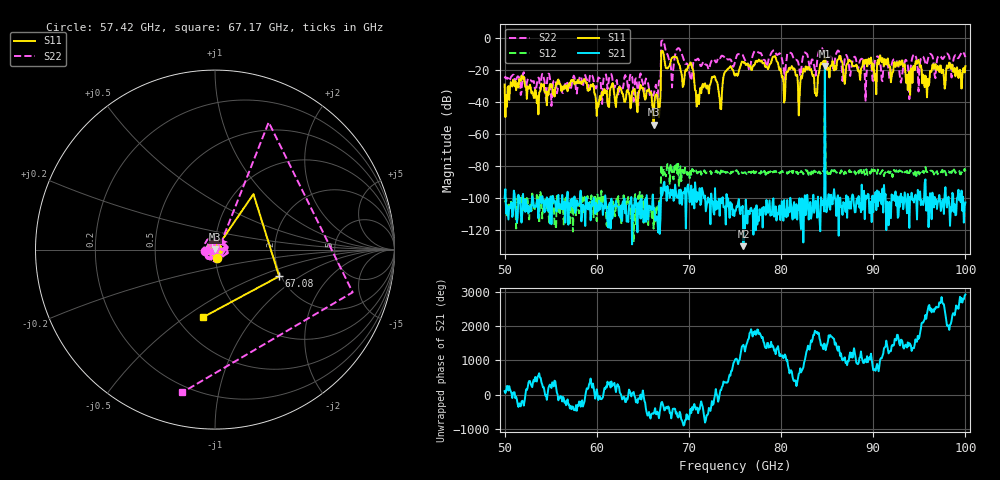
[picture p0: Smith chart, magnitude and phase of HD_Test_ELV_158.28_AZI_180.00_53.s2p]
! 11/25/2026 9:29:29 AM
! C:\ANRITSUVNA\TEMP\TEMP.S2P
! CHANNEL.1
! TR.MEASUREMENT
! RAW.DATA
# HZ S RI R 50.0
! FREQ.HZ  S11RE  S11IM  S21RE  S21IM  S12RE  S12IM  S22RE  S22IM
!; PortSelection: Port_12
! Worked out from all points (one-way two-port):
!   601 points, 50 GHz to 100 GHz, reference 50 ohm
!   highest |S21| = -17.60 dB at 84.75 GHz (marker M1); lowest = -130.0 dB at 75.92 GHz (marker M2)
!   lowest |S11| = -54.3 dB at 66.17 GHz (marker M3), VSWR 1.00, Z = 50.1 + j0.148 ohm
!   |S11| at or under -10 dB: start of sweep to 67 GHz; 67.24 GHz to end of sweep
!   |S22| runs from -42.6 to -1.8 dB; largest |S21 - S12| = 0.15
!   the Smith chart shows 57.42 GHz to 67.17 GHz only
!   S11 on the Smith chart (normalised r, x): 57.42 GHz: 1.02, -0.10; 67.08 GHz: 1.95, -0.68; 67.17 GHz: 0.67, -0.59
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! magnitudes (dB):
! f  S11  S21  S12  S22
! 50 GHz  -29.2  -100.0  -101.9  -25.4
! 57.42 GHz  -26.3  -102.5  -121.0  -25.2
! 58.42 GHz  -27.2  -108.3  -100.2  -29.0
! 60.17 GHz  -43.1  -108.0  -106.9  -24.8
! 61.67 GHz  -28.7  -112.8  -110.5  -24.5
! 66.17 GHz  -54.3  -107.0  -119.0  -35.4
! 66.67 GHz  -42.0  -121.4  -107.0  -32.2
! 67.08 GHz  -8.2  -98.5  -84.5  -1.9
! 67.17 GHz  -8.4  -96.7  -86.7  -1.8
! 70.17 GHz  -15.4  -100.8  -83.2  -25.7
! 70.92 GHz  -40.8  -96.4  -84.7  -13.3
! 75 GHz  -23.7  -108.3  -84.4  -15.0
! 75.92 GHz  -15.6  -130.0  -84.4  -11.8
! 83.42 GHz  -23.8  -105.0  -85.5  -13.6
! 83.83 GHz  -36.4  -103.2  -84.2  -19.5
! 84.75 GHz  -11.9  -17.6  -33.1  -11.3
! 91.67 GHz  -16.7  -116.9  -83.3  -20.4
! 93.75 GHz  -32.7  -97.5  -85.7  -17.2
! 94.83 GHz  -15.0  -94.9  -85.2  -20.3
! 95.83 GHz  -37.2  -102.7  -83.8  -15.9
! 96.58 GHz  -19.5  -105.8  -85.3  -16.9
! 100 GHz  -17.8  -102.7  -83.4  -12.1
